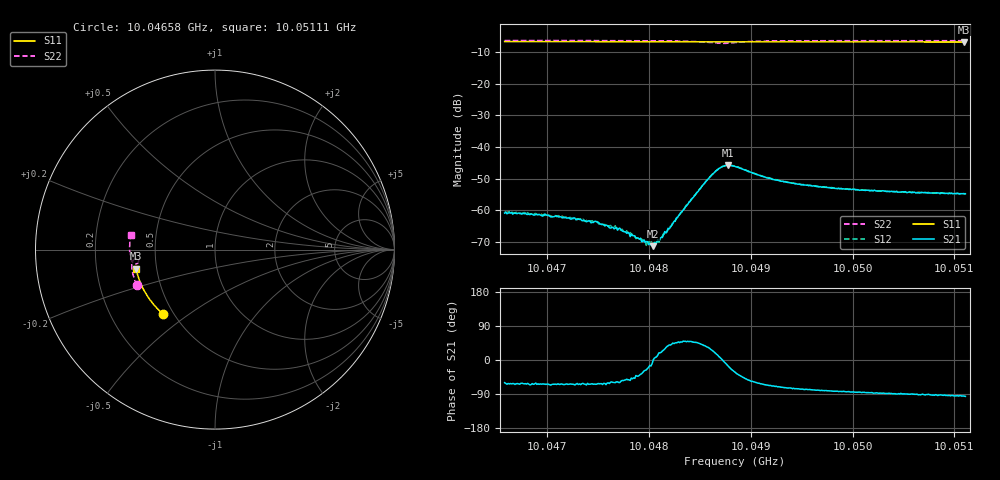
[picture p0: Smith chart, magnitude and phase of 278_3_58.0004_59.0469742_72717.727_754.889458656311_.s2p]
#  HZ  S  RI  R  50.00
! Rohde & Schwarz Vector Network Analyzer
! Rohde-Schwarz,ZNB20-2Port,1311601062101988,3.16
! Created: UTC 3/21/2024, 1:02:46 AM
! freq[Hz]  re:S11  im:S11  re:S21  im:S21  re:S12  im:S12  re:S22  im:S22
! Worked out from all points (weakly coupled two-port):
!   401 points, 10.04658 GHz to 10.05111 GHz, reference 50 ohm
!   highest |S21| = -45.77 dB at 10.04878 GHz (marker M1); lowest = -71.3 dB at 10.04804 GHz (marker M2)
!   lowest |S11| = -6.9 dB at 10.0511 GHz (marker M3), VSWR 2.66, Z = 19.1 - j5.14 ohm
!   |S11| at or under -10 dB: nowhere
!   |S22| runs from -7.3 to -6.4 dB; largest |S21 - S12| = 0.00037
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1.0046584e10  -0.2905 -0.3579  0.000455 -0.000782  0.000493 -0.000801  -0.4364 -0.1987
1.0046992e10  -0.3103 -0.3395  0.000364 -0.000765  0.000433 -0.000734  -0.4464 -0.173
1.0047342e10  -0.3266 -0.323  0.000316 -0.000615  0.000352 -0.000612  -0.4538 -0.1501
1.0047489e10  -0.3331 -0.3159  0.000289 -0.00059  0.000345 -0.000564  -0.4567 -0.1401
1.0047636e10  -0.3397 -0.3085  0.000283 -0.000454  0.000292 -0.000462  -0.459 -0.13
1.0047704e10  -0.3426 -0.3051  0.00026 -0.000441  0.000292 -0.000408  -0.4603 -0.1251
1.0047795e10  -0.3463 -0.3004  0.000272 -0.000348  0.00029 -0.000347  -0.4613 -0.1187
1.0047953e10  -0.3526 -0.2923  0.000298 -0.000166  0.000293 -0.000162  -0.4632 -0.1068
1.0048021e10  -0.3557 -0.2887  0.000273 -7.85e-05  0.00031 -5.17e-05  -0.4636 -0.1014
1.0048043e10  -0.3564 -0.2874  0.000271 1.79e-06  0.000329 -8.77e-06  -0.4639 -0.0996
1.0048077e10  -0.3577 -0.2857  0.000304 4.52e-05  0.000312 9.16e-05  -0.4641 -0.0968
1.00481e10  -0.3586 -0.2847  0.000307 0.000105  0.000294 0.000107  -0.4641 -0.095
1.004819e10  -0.3623 -0.2799  0.000411 0.000318  0.000396 0.000319  -0.4644 -0.0871
1.0048597e10  -0.3771 -0.2575  0.00285 0.00168  0.00278 0.00184  -0.4423 -0.0513
1.0048699e10  -0.3804 -0.2519  0.00463 0.000536  0.00464 0.000804  -0.4275 -0.0583
1.0048778e10  -0.3831 -0.2476  0.00495 -0.0014  0.00506 -0.00112  -0.4279 -0.0723
1.0048846e10  -0.3854 -0.2441  0.00418 -0.00261  0.00434 -0.00238  -0.4374 -0.0787
1.0049231e10  -0.3982 -0.2219  0.00109 -0.00285  0.00127 -0.00281  -0.4693 -0.0514
1.0049604e10  -0.4091 -0.1999  0.000476 -0.00237  0.000613 -0.00237  -0.4749 -0.0213
1.0050362e10  -0.4273 -0.1536  7.23e-05 -0.00197  0.000157 -0.00199  -0.4747 0.0323
1.0051097e10  -0.4401 -0.1071  -0.000172 -0.00182  -5.89e-05 -0.00182  -0.4686 0.0814
1.0051108e10  -0.4405 -0.1064  -0.000191 -0.00181  -8.03e-05 -0.00184  -0.4684 0.0822
